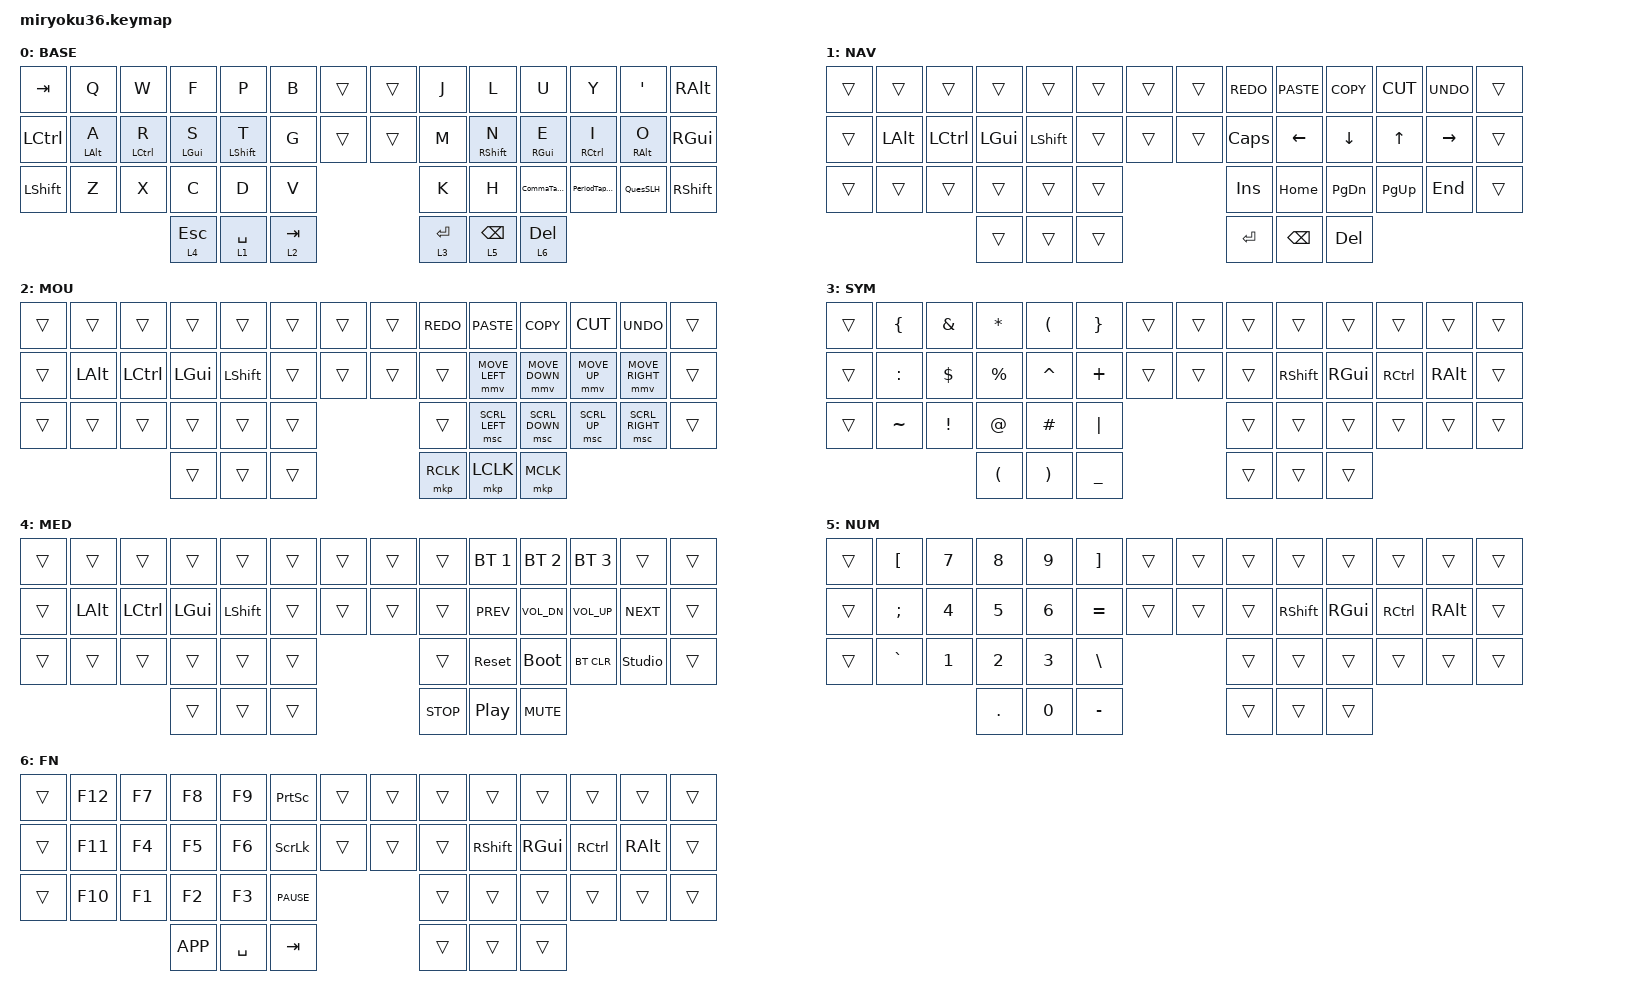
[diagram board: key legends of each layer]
#include <behaviors.dtsi>
#include <dt-bindings/zmk/bt.h>
#include <dt-bindings/zmk/keys.h>
#include <dt-bindings/zmk/pointing.h>

/ {
    chosen { zmk,physical-layout = &default_layout; };
};

/ {
    behaviors {
        HML: hml {
            compatible = "zmk,behavior-hold-tap";
            label = "HOMEROW_MODS_L";
            #binding-cells = <2>;
            tapping-term-ms = <280>;
            quick-tap-ms = <175>;
            flavor = "balanced"; // <--- This is the magic ingredient
            bindings = <&kp>, <&kp>;

            require-prior-idle-ms = <150>;
            hold-trigger-key-positions = <7 8 12 13 21 22 23 24 25 26 27 34 35 36 37 38 39 43 9 10 11 44 45>;
            hold-trigger-on-release;
        };

        HMR: hmr {
            compatible = "zmk,behavior-hold-tap";
            label = "HOMEROW_MODS_R";
            bindings = <&kp>, <&kp>;

            #binding-cells = <2>;
            tapping-term-ms = <280>;
            quick-tap-ms = <175>;
            require-prior-idle-ms = <150>;
            flavor = "balanced";
            hold-trigger-key-positions = <0 1 2 3 4 5 6 14 15 16 17 18 19 20 28 29 30 31 32 33 40 41 42>;
            hold-trigger-on-release;
        };

        CommaTapDance: CommaTapDance {
            compatible = "zmk,behavior-tap-dance";
            label = "COMMATAPDANCE";
            #binding-cells = <0>;
            bindings = <&kp COMMA>, <&kp SEMI>;
        };

        PeriodTapDance: PeriodTapDance {
            compatible = "zmk,behavior-tap-dance";
            label = "PERIODTAPDANCE";
            #binding-cells = <0>;
            bindings = <&kp PERIOD>, <&kp PERIOD>;
        };

        CommaSemi: CommaSemi {
            compatible = "zmk,behavior-mod-morph";
            label = "COMMASEMI";
            bindings = <&kp COMMA>, <&kp SEMI>;

            #binding-cells = <0>;
            mods = <(MOD_LSFT|MOD_RSFT)>;
        };

        PeriodColon: PeriodColon {
            compatible = "zmk,behavior-mod-morph";
            label = "PERIODCOLON";
            bindings = <&kp PERIOD>, <&kp COLON>;

            #binding-cells = <0>;
            mods = <(MOD_LSFT|MOD_RSFT)>;
        };

        HMShifL: HMShifL {
            compatible = "zmk,behavior-hold-tap";
            label = "HMSHIFL";
            bindings = <&kp>, <&kp>;

            #binding-cells = <2>;
            tapping-term-ms = <200>;
            hold-while-undecided;
            hold-trigger-on-release;
            hold-trigger-key-positions = <7 8 9 10 11 12 13 21 22 23 24 25 26 27 34 35 36 37 38 39 43 44 45>;
        };

        HMShiftR: HMShiftR {
            compatible = "zmk,behavior-hold-tap";
            label = "HMSHIFTR";
            bindings = <&kp>, <&kp>;

            #binding-cells = <2>;
            tapping-term-ms = <200>;
            hold-while-undecided;
            hold-trigger-on-release;
            hold-trigger-key-positions = <0 1 2 3 4 5 6 14 15 16 17 18 19 20 28 29 30 31 32 33 40 41 42>;
        };

        QuesSLH: QuesSLH {
            compatible = "zmk,behavior-tap-dance";
            label = "QUESSLH";
            #binding-cells = <0>;
            bindings = <&kp QMARK>, <&kp BACKSLASH>;
        };
    };

    combos {
        compatible = "zmk,combos";

        exclCombo {
            bindings = <&kp EXCL>;
            key-positions = <15 1>;
            require-prior-idle-ms = <75>;
            layers = <0>;
        };

        AtCombo {
            bindings = <&kp AT>;
            key-positions = <16 2>;
            require-prior-idle-ms = <75>;
            layers = <0>;
        };

        HashCombo {
            bindings = <&kp HASH>;
            key-positions = <17 3>;
        };

        DollCombo {
            bindings = <&kp DOLLAR>;
            key-positions = <18 4>;
        };

        PercCombo {
            bindings = <&kp PERCENT>;
            key-positions = <19 5>;
        };

        CaretCombo {
            bindings = <&kp CARET>;
            key-positions = <22 8>;
        };

        AmpsCombo {
            bindings = <&kp AMPERSAND>;
            key-positions = <23 9>;
        };

        AsterCombo {
            bindings = <&kp ASTRK>;
            key-positions = <24 10>;
        };

        LpareCombo {
            bindings = <&kp LEFT_PARENTHESIS>;
            key-positions = <25 11>;
        };

        RpareCombo {
            bindings = <&kp RIGHT_PARENTHESIS>;
            key-positions = <26 12>;
        };

        LbrcCombo {
            bindings = <&kp LEFT_BRACKET>;
            key-positions = <37 25>;
        };

        RbrcCombo {
            bindings = <&kp RIGHT_BRACKET>;
            key-positions = <38 26>;
        };

        UnderCombo {
            bindings = <&kp UNDER>;
            key-positions = <34 22>;
        };

        MinusCombo {
            bindings = <&kp MINUS>;
            key-positions = <35 23>;
        };

        PlusCombo {
            bindings = <&kp PLUS>;
            key-positions = <36 24>;
        };

        PipeCombo {
            bindings = <&kp PIPE>;
            key-positions = <33 19>;
        };

        EqualCombo {
            bindings = <&kp EQUAL>;
            key-positions = <32 18>;
        };

        TildeCombo {
            bindings = <&kp TILDE>;
            key-positions = <31 17>;
        };

        GraveCombo {
            bindings = <&kp GRAVE>;
            key-positions = <30 16>;
        };
    };

    keymap {
        compatible = "zmk,keymap";

        // LAYER 0: BASE (COLEMAK-DH)
        /*
               Pinky      Ring     Middle    Index     Inner             Inner      Index     Middle    Ring     Pinky
            ┌─────────┬─────────┬─────────┬─────────┬─────────┐       ┌─────────┬─────────┬─────────┬─────────┬─────────┐
        Top |    Q    |    W    |    F    |    P    |    B    |       |    J    |    L    |    U    |    Y    |    '    |
            ├─────────┼─────────┼─────────┼─────────┼─────────┤       ├─────────┼─────────┼─────────┼─────────┼─────────┤
        Home|    A    |    R    |    S    |    T    |    G    |       |    M    |    N    |    E    |    I    |    O    |
            |  (LALT) | (LCTRL) |  (LGUI) | (LSHFT) |         |       |         | (RSHFT) |  (RGUI) | (RCTRL) |  (RALT) |
            ├─────────┼─────────┼─────────┼─────────┼─────────┤       ├─────────┼─────────┼─────────┼─────────┼─────────┤
        Bot |    Z    |    X    |    C    |    D    |    V    |       |    K    |    H    |    ,    |    .    |    /    |
            └─────────┴─────────┴─────────┴─────────┴─────────┘       └─────────┴─────────┴─────────┴─────────┴─────────┘
                        (X)    ┌─────────┬─────────┬─────────┐       ┌─────────┬─────────┬─────────┐   (X)
                                |   ESC   |  SPACE  |   TAB   |       |   RET   |   BSPC  |   DEL   |
                                | (MEDIA) |  (NAV)  | (MOUSE) |       |  (SYM)  |  (NUM)  |  (FUN)  |
                                └─────────┴─────────┴─────────┘       └─────────┴─────────┴─────────┘
        */

        default_layout {
            display-name = "BASE";
            bindings = <
&kp TAB           &kp Q        &kp W         &kp F        &kp P         &kp B      &trans  &trans  &kp J      &kp L         &kp U           &kp Y            &kp SQT      &kp RIGHT_ALT
&kp LEFT_CONTROL  &HML LALT A  &HML LCTRL R  &HML LGUI S  &HML LSHFT T  &kp G      &trans  &trans  &kp M      &HMR RSHFT N  &HMR RGUI E     &HMR RCTRL I     &HMR RALT O  &kp RIGHT_GUI
&kp LEFT_SHIFT    &kp Z        &kp X         &kp C        &kp D         &kp V                      &kp K      &kp H         &CommaTapDance  &PeriodTapDance  &QuesSLH     &kp RIGHT_SHIFT
                                             &lt 4 ESC    &lt 1 SPACE   &lt 2 TAB                  &lt 3 RET  &lt 5 BSPC    &lt 6 DEL
            >;
        };

        // LAYER 1: NAV (Left Thumb Middle)
        /*
            ┌───────────┬────────────┬────────────┬────────────┬────────────┐   ┌────────────┬────────────┬────────────┬────────────┬────────────┐
        Top |     X     |      X     |      X     |      X     |      X     |   |    AGAIN   |    PASTE   |    COPY    |     CUT    |    UNDO    |
            ├───────────┼────────────┼────────────┼────────────┼────────────┤   ├────────────┼────────────┼────────────┼────────────┼────────────┤
        Home|     X     |    LALT    |    LCTRL   |    LGUI    |    LSHFT   |   |    CAPS    |    LEFT    |    DOWN    |     UP     |    RIGHT   |
            |           |  (Sticky)  |  (Sticky)  |  (Sticky)  |  (Sticky)  |   |            |            |            |            |            |
            ├───────────┼────────────┼────────────┼────────────┼────────────┤   ├────────────┼────────────┼────────────┼────────────┼────────────┤
        Bot |     X     |      X     |      X     |      X     |      X     |   |     INS    |    HOME    |    PG_DN   |    PG_UP   |     END    |
            └───────────┴────────────┴────────────┴────────────┴────────────┘   └────────────┴────────────┴────────────┴────────────┴────────────┘
                                    ┌────────────┬────────────┬────────────┐   ┌────────────┬────────────┬────────────┐
                                    |      X     |   (HOLD)   |      X     |   |     RET    |    BSPC    |     DEL    |
                                    |            |     NAV    |            |   |            |            |            |
                                    └────────────┴────────────┴────────────┘   └────────────┴────────────┴────────────┘
        */

        nav_layer {
            display-name = "NAV";
            bindings = <
&trans  &trans    &trans     &trans    &trans     &trans  &trans  &trans  &kp K_REDO  &kp K_PASTE  &kp K_COPY  &kp K_CUT  &kp K_UNDO  &trans
&trans  &kp LALT  &kp LCTRL  &kp LGUI  &kp LSHFT  &trans  &trans  &trans  &kp CAPS    &kp LEFT     &kp DOWN    &kp UP     &kp RIGHT   &trans
&trans  &trans    &trans     &trans    &trans     &trans                  &kp INS     &kp HOME     &kp PG_DN   &kp PG_UP  &kp END     &trans
                             &trans    &trans     &trans                  &kp RET     &kp BSPC     &kp DEL
            >;
        };

        // LAYER 2: MOUSE (Left Thumb Inner) - Placeholder for Mouse Keys
        /*
            ┌───────────┬────────────┬────────────┬────────────┬────────────┐   ┌────────────┬────────────┬────────────┬────────────┬────────────┐
        Top |     X     |      X     |      X     |      X     |      X     |   |    AGAIN   |    PASTE   |    COPY    |     CUT    |    UNDO    |
            ├───────────┼────────────┼────────────┼────────────┼────────────┤   ├────────────┼────────────┼────────────┼────────────┼────────────┤
        Home|     X     |    LALT    |    LCTRL   |    LGUI    |    LSHFT   |   |      -     |   MS LEFT  |   MS DOWN  |    MS UP   |  MS RIGHT  |
            |           |  (Sticky)  |  (Sticky)  |  (Sticky)  |  (Sticky)  |   |            |            |            |            |            |
            ├───────────┼────────────┼────────────┼────────────┼────────────┤   ├────────────┼────────────┼────────────┼────────────┼────────────┤
        Bot |     X     |      X     |      X     |      X     |      X     |   |      -     |   SCRL LF  |   SCRL DN  |   SCRL UP  |   SCRL RT  |
            └───────────┴────────────┴────────────┴────────────┴────────────┘   └────────────┴────────────┴────────────┴────────────┴────────────┘
                                    ┌────────────┬────────────┬────────────┐   ┌────────────┬────────────┬────────────┐
                                    |      X     |      X     |   (HOLD)   |   |   R-CLICK  |   L-CLICK  |   M-CLICK  |
                                    |            |            |   MOUSE    |   |            |            |            |
                                    └────────────┴────────────┴────────────┘   └────────────┴────────────┴────────────┘
        */

        mouse_layer {
            display-name = "MOU";
            bindings = <
&trans  &trans    &trans     &trans    &trans     &trans  &trans  &trans  &kp K_REDO  &kp K_PASTE     &kp K_COPY      &kp K_CUT     &kp K_UNDO       &trans
&trans  &kp LALT  &kp LCTRL  &kp LGUI  &kp LSHFT  &trans  &trans  &trans  &trans      &mmv MOVE_LEFT  &mmv MOVE_DOWN  &mmv MOVE_UP  &mmv MOVE_RIGHT  &trans
&trans  &trans    &trans     &trans    &trans     &trans                  &trans      &msc SCRL_LEFT  &msc SCRL_DOWN  &msc SCRL_UP  &msc SCRL_RIGHT  &trans
                             &trans    &trans     &trans                  &mkp RCLK   &mkp LCLK       &mkp MCLK
            >;
        };

        // LAYER 3: SYM (Right Thumb Inner)
        /*
            ┌─────────┬─────────┬─────────┬─────────┬─────────┐       ┌────────────┬────────────┬────────────┬────────────┬────────────┐
        Top |    {    |    &    |    *    |    (    |    }    |       |      X     |      X     |      X     |      X     |      X     |
            ├─────────┼─────────┼─────────┼─────────┼─────────┤       ├────────────┼────────────┼────────────┼────────────┼────────────┤
        Home|    :    |    $    |    %    |    ^    |    +    |       |      X     |    RSHFT   |    RGUI    |    RCTRL   |    RALT    |
            |         |         |         |         |         |       |            |  (Sticky)  |  (Sticky)  |  (Sticky)  |  (Sticky)  |
            ├─────────┼─────────┼─────────┼─────────┼─────────┤       ├────────────┼────────────┼────────────┼────────────┼────────────┤
        Bot |    ~    |    !    |    @    |    #    |    |    |       |      X     |      X     |      X     |      X     |      X     |
            └─────────┴─────────┴─────────┴─────────┴─────────┘       └────────────┴────────────┴────────────┴────────────┴────────────┘
                                ┌─────────┬─────────┬─────────┐       ┌────────────┬────────────┬────────────┐
                                |    (    |    )    |    _    |       |   (HOLD)   |      X     |      X     |
                                |         |         |         |       |     SYM    |            |            |
                                └─────────┴─────────┴─────────┘       └────────────┴────────────┴────────────┘
        */

        sym_layer {
            display-name = "SYM";
            bindings = <
&trans  &kp LBRC   &kp AMPS  &kp ASTRK  &kp LPAR   &kp RBRC   &trans  &trans  &trans  &trans     &trans    &trans     &trans    &trans
&trans  &kp COLON  &kp DLLR  &kp PRCNT  &kp CARET  &kp PLUS   &trans  &trans  &trans  &kp RSHFT  &kp RGUI  &kp RCTRL  &kp RALT  &trans
&trans  &kp TILDE  &kp EXCL  &kp AT     &kp HASH   &kp PIPE                   &trans  &trans     &trans    &trans     &trans    &trans
                             &kp LPAR   &kp RPAR   &kp UNDER                  &trans  &trans     &trans
            >;
        };

        // LAYER 4: MEDIA (Left Thumb Outer)
        /*
            ┌───────────┬────────────┬────────────┬────────────┬────────────┐   ┌────────────┬────────────┬────────────┬────────────┬────────────┐
        Top |     X     |      X     |      X     |      X     |      X     |   |      X     |     BT 1   |     BT 2   |     BT 3   |      X     |
            ├───────────┼────────────┼────────────┼────────────┼────────────┤   ├────────────┼────────────┼────────────┼────────────┼────────────┤
        Home|     X     |    LALT    |    LCTRL   |    LGUI    |    LSHFT   |   |      X     |    PREV    |   VOL DN   |   VOL UP   |    NEXT    |
            |           |  (Sticky)  |  (Sticky)  |  (Sticky)  |  (Sticky)  |   |            |            |            |            |            |
            ├───────────┼────────────┼────────────┼────────────┼────────────┤   ├────────────┼────────────┼────────────┼────────────┼────────────┤
        Bot |     X     |      X     |      X     |      X     |      X     |   |    BT CLR  |   SYS RST  |   BOOTLDR  |      X     |   STUDIO   |
            └───────────┴────────────┴────────────┴────────────┴────────────┘   └────────────┴────────────┴────────────┴────────────┴────────────┘
                                    ┌────────────┬────────────┬────────────┐   ┌────────────┬────────────┬────────────┐
                                    |   (HOLD)   |      X     |      X     |   |    STOP    |    PLAY    |    MUTE    |
                                    |    MEDIA   |            |            |   |            |            |            |
                                    └────────────┴────────────┴────────────┘   └────────────┴────────────┴────────────┘
        */

        media_layer {
            display-name = "MED";
            bindings = <
&trans  &trans    &trans     &trans    &trans     &trans  &trans  &trans  &trans      &bt BT_SEL 1  &bt BT_SEL 2  &bt BT_SEL 3  &trans          &trans
&trans  &kp LALT  &kp LCTRL  &kp LGUI  &kp LSHFT  &trans  &trans  &trans  &trans      &kp C_PREV    &kp C_VOL_DN  &kp C_VOL_UP  &kp C_NEXT      &trans
&trans  &trans    &trans     &trans    &trans     &trans                  &trans      &sys_reset    &bootloader   &bt BT_CLR    &studio_unlock  &trans
                             &trans    &trans     &trans                  &kp C_STOP  &kp C_PP      &kp C_MUTE
            >;
        };

        // LAYER 5: NUM (Right Thumb Middle)
        /*
            ┌─────────┬─────────┬─────────┬─────────┬─────────┐       ┌────────────┬────────────┬────────────┬────────────┬────────────┐
        Top |    [    |    7    |    8    |    9    |    ]    |       |      X     |      X     |      X     |      X     |      X     |
            ├─────────┼─────────┼─────────┼─────────┼─────────┤       ├────────────┼────────────┼────────────┼────────────┼────────────┤
        Home|    ;    |    4    |    5    |    6    |    =    |       |      X     |    RSHFT   |    RGUI    |    RCTRL   |    RALT    |
            |         |         |         |         |         |       |            |  (Sticky)  |  (Sticky)  |  (Sticky)  |  (Sticky)  |
            ├─────────┼─────────┼─────────┼─────────┼─────────┤       ├────────────┼────────────┼────────────┼────────────┼────────────┤
        Bot |    `    |    1    |    2    |    3    |    \    |       |      X     |      X     |      X     |      X     |      X     |
            └─────────┴─────────┴─────────┴─────────┴─────────┘       └────────────┴────────────┴────────────┴────────────┴────────────┘
                                ┌─────────┬─────────┬─────────┐       ┌────────────┬────────────┬────────────┐
                                |    .    |    0    |    -    |       |      X     |   (HOLD)   |      X     |
                                |         |         |         |       |            |     NUM    |            |
                                └─────────┴─────────┴─────────┘       └────────────┴────────────┴────────────┘
        */

        num_layer {
            display-name = "NUM";
            bindings = <
&trans  &kp LBKT   &kp N7  &kp N8   &kp N9  &kp RBKT   &trans  &trans  &trans  &trans     &trans    &trans     &trans    &trans
&trans  &kp SEMI   &kp N4  &kp N5   &kp N6  &kp EQUAL  &trans  &trans  &trans  &kp RSHFT  &kp RGUI  &kp RCTRL  &kp RALT  &trans
&trans  &kp GRAVE  &kp N1  &kp N2   &kp N3  &kp BSLH                   &trans  &trans     &trans    &trans     &trans    &trans
                           &kp DOT  &kp N0  &kp MINUS                  &trans  &trans     &trans
            >;
        };

        // LAYER 6: FUN (Right Thumb Outer)
        /*
            ┌─────────┬─────────┬─────────┬─────────┬─────────┐       ┌────────────┬────────────┬────────────┬────────────┬────────────┐
        Top |  PSCRN  |    F9   |    F8   |    F7   |   F12   |       |      X     |      X     |      X     |      X     |      X     |
            ├─────────┼─────────┼─────────┼─────────┼─────────┤       ├────────────┼────────────┼────────────┼────────────┼────────────┤
        Home|  SLCK   |    F6   |    F5   |    F4   |   F11   |       |      X     |    RSHFT   |    RGUI    |    RCTRL   |    RALT    |
            |         |         |         |         |         |       |            |  (Sticky)  |  (Sticky)  |  (Sticky)  |  (Sticky)  |
            ├─────────┼─────────┼─────────┼─────────┼─────────┤       ├────────────┼────────────┼────────────┼────────────┼────────────┤
        Bot |  PAUSE  |    F3   |    F2   |    F1   |   F10   |       |      X     |      X     |      X     |      X     |      X     |
            └─────────┴─────────┴─────────┴─────────┴─────────┘       └────────────┴────────────┴────────────┴────────────┴────────────┘
                                ┌─────────┬─────────┬─────────┐       ┌────────────┬────────────┬────────────┐
                                |   APP   |  SPACE  |   TAB   |       |      X     |      X     |   (HOLD)   |
                                |         |         |         |       |            |            |     FUN    |
                                └─────────┴─────────┴─────────┘       └────────────┴────────────┴────────────┘
        */

        fun_layer {
            display-name = "FN";
            bindings = <
&trans  &kp F12  &kp F7  &kp F8     &kp F9     &kp PSCRN    &trans  &trans  &trans  &trans     &trans    &trans     &trans    &trans
&trans  &kp F11  &kp F4  &kp F5     &kp F6     &kp SLCK     &trans  &trans  &trans  &kp RSHFT  &kp RGUI  &kp RCTRL  &kp RALT  &trans
&trans  &kp F10  &kp F1  &kp F2     &kp F3     &kp C_PAUSE                  &trans  &trans     &trans    &trans     &trans    &trans
                         &kp K_APP  &kp SPACE  &kp TAB                      &trans  &trans     &trans
            >;
        };
    };
};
